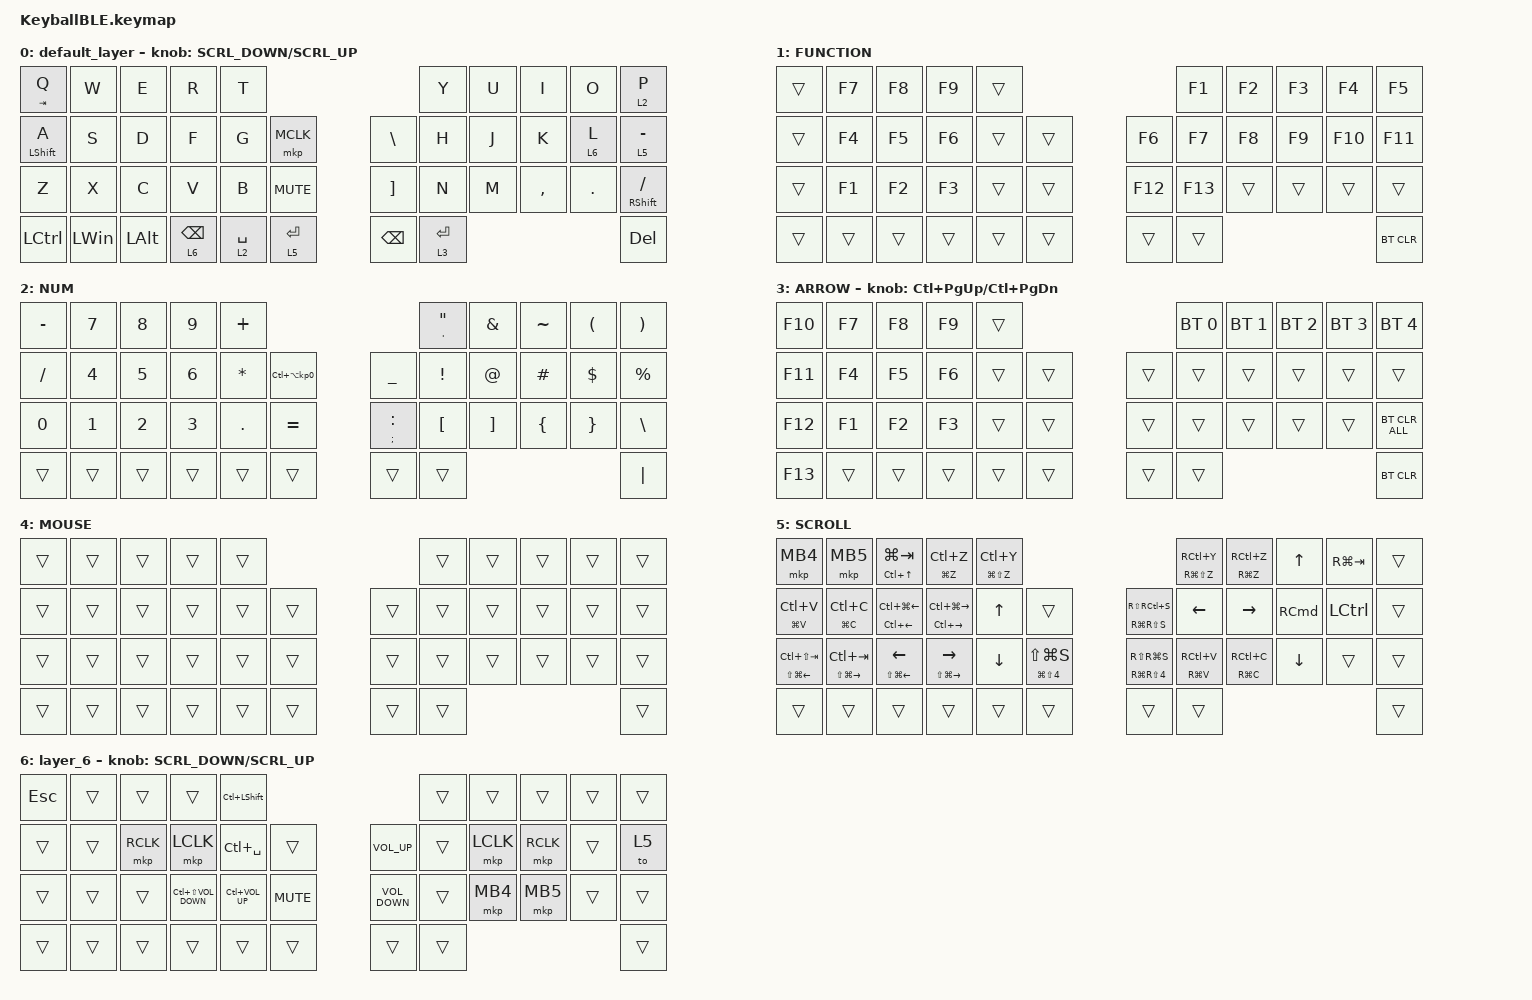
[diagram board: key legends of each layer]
#define ZMK_POINTING_DEFAULT_SCRL_VAL 120    // default: 10

#include <behaviors.dtsi>
#include <dt-bindings/zmk/bt.h>
#include <dt-bindings/zmk/keys.h>
#include <dt-bindings/zmk/pointing.h>

#define MOUSE 4
#define SCROLL 5
#define NUM 6

&mt {
    flavor = "balanced";
    quick-tap-ms = <0>;
};

/ {
    combos { compatible = "zmk,combos"; };

    macros {
        to_layer_0: to_layer_0 {
            compatible = "zmk,behavior-macro-one-param";
            #binding-cells = <1>;
            bindings = <&to 0 &macro_param_1to1 &kp MACRO_PLACEHOLDER>;
            label = "TO_LAYER_0";
        };
    };

    behaviors {
        lt_to_layer_0: lt_to_layer_0 {
            compatible = "zmk,behavior-hold-tap";
            label = "LAYER_TAP_TO_0";
            bindings = <&mo>, <&to_layer_0>;

            #binding-cells = <2>;
            tapping-term-ms = <200>;
        };

        ROTATE: ROTATE {
            compatible = "zmk,behavior-sensor-rotate-var";
            label = "ROTATE";
            #sensor-binding-cells = <2>;
            bindings = <&msc>, <&msc>;

            tap-ms = <20>;
        };
    };

    keymap {
        compatible = "zmk,keymap";

        default_layer {
            bindings = <
&mt TAB Q         &kp W         &kp E         &kp R                       &kp T                                                       &kp Y        &kp U  &kp I      &kp O               &lt 2 P
&mt LEFT_SHIFT A  &kp S         &kp D         &kp F                       &kp G        &mkp MCLK                   &kp BACKSLASH      &kp H        &kp J  &kp K      &lt_to_layer_0 6 L  &lt_to_layer_0 5 MINUS
&kp Z             &kp X         &kp C         &kp V                       &kp B        &kp K_MUTE                  &kp RIGHT_BRACKET  &kp N        &kp M  &kp COMMA  &kp DOT             &mt RIGHT_SHIFT SLASH
&kp LCTRL         &kp LEFT_WIN  &kp LEFT_ALT  &lt_to_layer_0 6 BACKSPACE  &lt 2 SPACE  &lt_to_layer_0 5 ENTER      &kp BACKSPACE      &lt 3 ENTER                                        &kp DEL
            >;

            sensor-bindings = <&ROTATE SCRL_DOWN SCRL_UP>;
        };

        FUNCTION {
            bindings = <
&trans  &kp F7  &kp F8  &kp F9  &trans                       &kp F1   &kp F2  &kp F3  &kp F4   &kp F5
&trans  &kp F4  &kp F5  &kp F6  &trans  &trans      &kp F6   &kp F7   &kp F8  &kp F9  &kp F10  &kp F11
&trans  &kp F1  &kp F2  &kp F3  &trans  &trans      &kp F12  &kp F13  &trans  &trans  &trans   &trans
&trans  &trans  &trans  &trans  &trans  &trans      &trans   &trans                            &bt BT_CLR
            >;
        };

        NUM {
            bindings = <
&kp MINUS     &kp NUMBER_7  &kp NUMBER_8  &kp NUMBER_9  &kp PLUS                                                        &mt APOSTROPHE DOUBLE_QUOTES  &kp AMPERSAND      &kp TILDE       &kp LEFT_PARENTHESIS  &kp RIGHT_PARENTHESIS
&kp SLASH     &kp NUMBER_4  &kp NUMBER_5  &kp NUMBER_6  &kp ASTERISK  &kp LC(LA(KP_NUMBER_0))      &kp UNDERSCORE       &kp EXCLAMATION               &kp AT_SIGN        &kp HASH        &kp DOLLAR            &kp PERCENT
&kp NUMBER_0  &kp NUMBER_1  &kp NUMBER_2  &kp NUMBER_3  &kp PERIOD    &kp EQUAL                    &mt SEMICOLON COLON  &kp LEFT_BRACKET              &kp RIGHT_BRACKET  &kp LEFT_BRACE  &kp RIGHT_BRACE       &kp BACKSLASH
&trans        &trans        &trans        &trans        &trans        &trans                       &trans               &trans                                                                                 &kp PIPE
            >;
        };

        ARROW {
            bindings = <
&kp F10  &kp F7  &kp F8  &kp F9  &trans                      &bt BT_SEL 0  &bt BT_SEL 1  &bt BT_SEL 2  &bt BT_SEL 3  &bt BT_SEL 4
&kp F11  &kp F4  &kp F5  &kp F6  &trans  &trans      &trans  &trans        &trans        &trans        &trans        &trans
&kp F12  &kp F1  &kp F2  &kp F3  &trans  &trans      &trans  &trans        &trans        &trans        &trans        &bt BT_CLR_ALL
&kp F13  &trans  &trans  &trans  &trans  &trans      &trans  &trans                                                  &bt BT_CLR
            >;

            sensor-bindings = <&inc_dec_kp LC(PAGE_UP) LC(PAGE_DOWN)>;
        };

        MOUSE {
            bindings = <
&trans  &trans  &trans  &trans  &trans                      &trans  &trans  &trans  &trans  &trans
&trans  &trans  &trans  &trans  &trans  &trans      &trans  &trans  &trans  &trans  &trans  &trans
&trans  &trans  &trans  &trans  &trans  &trans      &trans  &trans  &trans  &trans  &trans  &trans
&trans  &trans  &trans  &trans  &trans  &trans      &trans  &trans                          &trans
            >;
        };

        SCROLL {
            bindings = <
&mkp MB4                            &mkp MB5                         &mt LC(UP_ARROW) LG(TAB)               &mt LG(Z) LC(Z)                      &mt LG(LS(Z)) LC(Y)                                                                      &mt RG(LS(Z)) RC(Y)  &mt RG(Z) RC(Z)  &kp UP_ARROW       &kp RG(TAB)       &trans
&mt LG(V) LC(V)                     &mt LG(C) LC(C)                  &mt LC(LEFT_ARROW) LC(LG(LEFT_ARROW))  &mt LC(RIGHT) LC(LG(RIGHT_ARROW))    &kp UP_ARROW         &trans                              &mt RG(RS(S)) RS(RC(S))         &kp LEFT_ARROW       &kp RIGHT_ARROW  &kp RIGHT_COMMAND  &kp LEFT_CONTROL  &trans
&mt LS(LG(LEFT_ARROW)) LC(LS(TAB))  &mt LS(LG(RIGHT_ARROW)) LC(TAB)  &mt LS(LG(LEFT_ARROW)) LEFT_ARROW      &mt LS(LG(RIGHT_ARROW)) RIGHT_ARROW  &kp DOWN_ARROW       &mt LG(LS(NUMBER_4)) LS(LG(S))      &mt RG(RS(NUMBER_4)) RS(RG(S))  &mt RG(V) RC(V)      &mt RG(C) RC(C)  &kp DOWN_ARROW     &trans            &trans
&trans                              &trans                           &trans                                 &trans                               &trans               &trans                              &trans                          &trans                                                                     &trans
            >;
        };

        layer_6 {
            bindings = <
&kp ESC  &trans  &trans     &trans                     &kp LC(LEFT_SHIFT)                                      &trans  &trans     &trans     &trans  &trans
&trans   &trans  &mkp RCLK  &mkp LCLK                  &kp LC(SPACE)        &trans          &kp C_VOLUME_UP    &trans  &mkp LCLK  &mkp RCLK  &trans  &to 5
&trans   &trans  &trans     &kp LC(LS(C_VOLUME_DOWN))  &kp LC(C_VOLUME_UP)  &kp C_MUTE      &kp C_VOLUME_DOWN  &trans  &mkp MB4   &mkp MB5   &trans  &trans
&trans   &trans  &trans     &trans                     &trans               &trans          &trans             &trans                                &trans
            >;

            sensor-bindings = <&ROTATE SCRL_DOWN SCRL_UP>;
        };
    };
};
